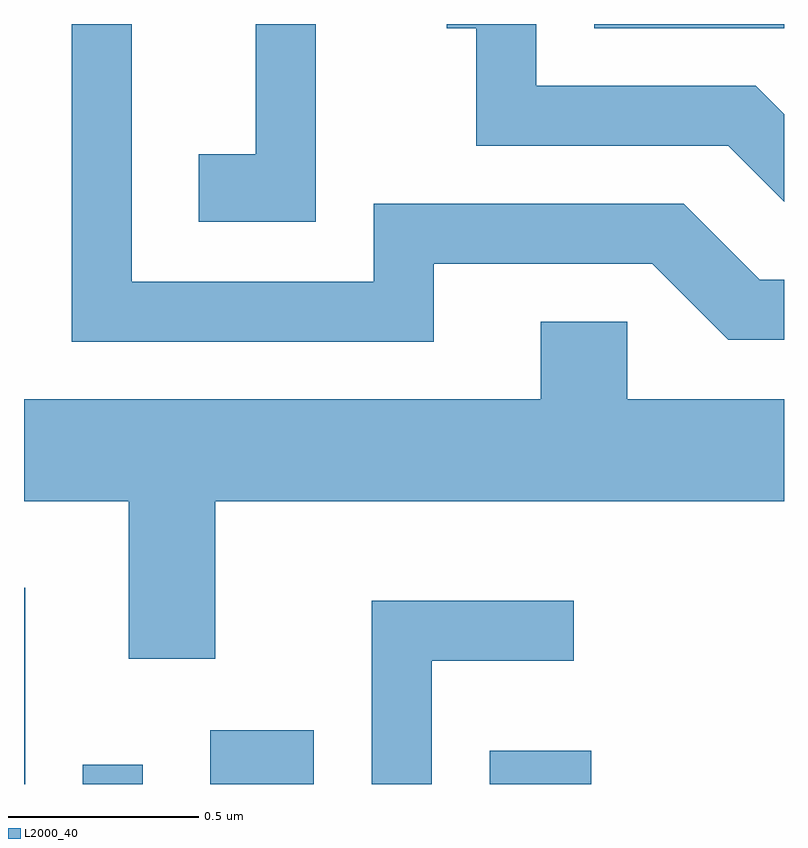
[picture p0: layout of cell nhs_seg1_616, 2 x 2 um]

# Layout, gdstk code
import gdstk
lib = gdstk.Library(unit=1e-6, precision=1e-09)
def R(c, l, rs):  # rectangles x0, y0, x1, y1
    for r in rs: c.add(gdstk.rectangle(r[:2], r[2:], *l))
def P(c, l, *ps):  # polygons
    for p in ps: c.add(gdstk.Polygon(p, *l))
L2000_40 = (2000, 40)

nhs_seg1_616 = lib.new_cell('nhs_seg1_616')
R(nhs_seg1_616, L2000_40, [(189.611,907.712,189.614,908.229), (189.766,907.712,189.924,907.763), (190.101,907.712,190.374,907.854), (190.836,907.712,191.104,907.799), (191.111,909.701,191.611,909.712)])
P(nhs_seg1_616, L2000_40, [(190.689,909.081),(191.264,909.081),(191.464,908.881),(191.611,908.881),(191.611,909.039),(191.547,909.039),(191.347,909.239),(190.531,909.239),(190.531,909.034),(189.894,909.034),(189.894,909.712),(189.736,909.712),(189.736,908.876),(190.689,908.876)],
  [(191.611,909.475),(191.537,909.549),(190.959,909.549),(190.959,909.712),(190.723,909.712),(190.723,909.701),(190.801,909.701),(190.801,909.391),(191.464,909.391),(191.611,909.244)],
  [(190.379,909.712),(190.221,909.712),(190.221,909.369),(190.071,909.369),(190.071,909.191),(190.379,909.191)],
  [(190.114,908.456),(191.611,908.456),(191.611,908.724),(191.199,908.724),(191.199,908.929),(190.971,908.929),(190.971,908.724),(189.611,908.724),(189.611,908.456),(189.886,908.456),(189.886,908.041),(190.114,908.041)],
  [(190.684,908.036),(191.058,908.036),(191.058,908.194),(190.526,908.194),(190.526,907.712),(190.684,907.712)])

lib.write_gds('nhs_seg1_616.gds')
